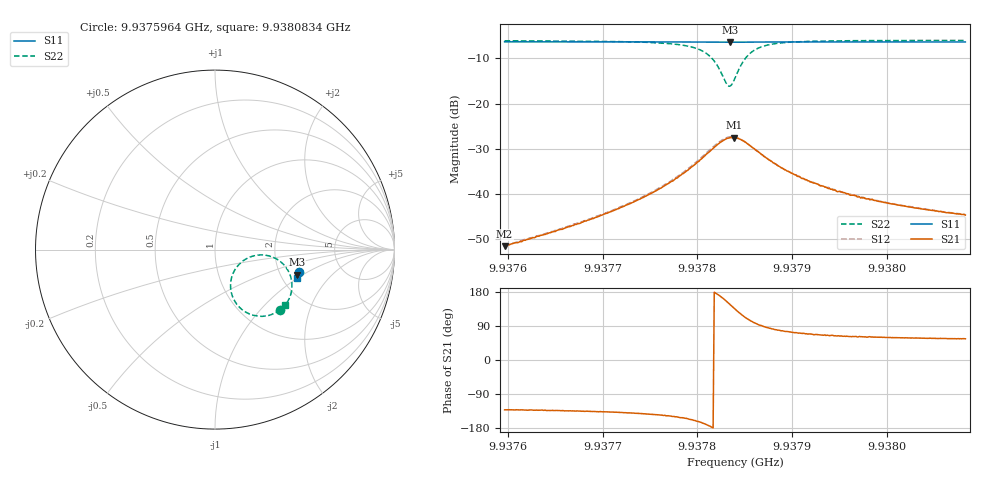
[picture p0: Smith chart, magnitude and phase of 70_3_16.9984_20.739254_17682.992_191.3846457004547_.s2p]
#  HZ  S  RI  R  50.00
! Rohde & Schwarz Vector Network Analyzer
! Rohde-Schwarz,ZNB20-2Port,1311601062101988,3.16
! Created: UTC 3/20/2024, 10:55:11 PM
! freq[Hz]  re:S11  im:S11  re:S21  im:S21  re:S12  im:S12  re:S22  im:S22
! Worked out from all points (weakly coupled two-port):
!   401 points, 9.9375964 GHz to 9.9380834 GHz, reference 50 ohm
!   highest |S21| = -27.50 dB at 9.9378387 GHz (marker M1); lowest = -51.5 dB at 9.9375964 GHz (marker M2)
!   lowest |S11| = -6.4 dB at 9.937835 GHz (marker M3), VSWR 2.82, Z = 122 - j44 ohm
!   |S11| at or under -10 dB: nowhere
!   |S22| runs from -16.2 to -6.0 dB; largest |S21 - S12| = 0.0026
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9.93759642e9  0.4655 -0.1253  -0.00176 -0.00199  -0.00182 -0.00197  0.3646 -0.3345
9.93767799e9  0.4635 -0.131  -0.00346 -0.00343  -0.00355 -0.00346  0.3452 -0.3478
9.93772546e9  0.462 -0.1344  -0.00574 -0.00494  -0.00591 -0.00494  0.3222 -0.3592
9.93775955e9  0.461 -0.137  -0.0093 -0.00655  -0.00966 -0.00656  0.2896 -0.3689
9.93778877e9  0.4594 -0.1391  -0.0162 -0.00787  -0.0169 -0.00762  0.2293 -0.3694
9.93780703e9  0.4579 -0.1402  -0.0254 -0.00559  -0.0264 -0.00507  0.1567 -0.3389
9.93781677e9  0.4567 -0.1405  -0.032 -0.000429  -0.0333 0.00056  0.1094 -0.2861
9.93782407e9  0.4558 -0.1401  -0.0364 0.00717  -0.0372 0.00886  0.0871 -0.2158
9.93783137e9  0.4554 -0.1395  -0.037 0.0181  -0.0368 0.0204  0.1035 -0.1264
9.93783503e9  0.4554 -0.1388  -0.0347 0.0239  -0.0343 0.0261  0.132 -0.0847
9.93783868e9  0.4555 -0.1384  -0.0308 0.0287  -0.03 0.0307  0.1712 -0.0531
9.9378399e9  0.4558 -0.1383  -0.0293 0.0302  -0.0281 0.0319  0.1857 -0.0456
9.93784598e9  0.4566 -0.138  -0.021 0.0342  -0.019 0.0354  0.2614 -0.0296
9.93785085e9  0.4572 -0.1382  -0.014 0.0347  -0.0124 0.0354  0.3138 -0.0391
9.93785694e9  0.4579 -0.1386  -0.00732 0.0329  -0.00598 0.0329  0.3621 -0.0647
9.93786424e9  0.4583 -0.1394  -0.00193 0.0295  -0.000868 0.0294  0.3971 -0.101
9.9378752e9  0.4587 -0.1407  0.00222 0.024  0.00297 0.0241  0.4209 -0.1485
9.93789103e9  0.4589 -0.1422  0.00446 0.0185  0.00489 0.0184  0.4291 -0.196
9.93792146e9  0.4582 -0.1448  0.00503 0.0125  0.00528 0.0124  0.4232 -0.245
9.93796042e9  0.4572 -0.1478  0.00469 0.0088  0.00468 0.00867  0.4124 -0.2749
9.93800302e9  0.4562 -0.1509  0.004 0.00677  0.00419 0.00676  0.4032 -0.292
9.93808337e9  0.4541 -0.1563  0.00328 0.00486  0.0034 0.00485  0.391 -0.3098
